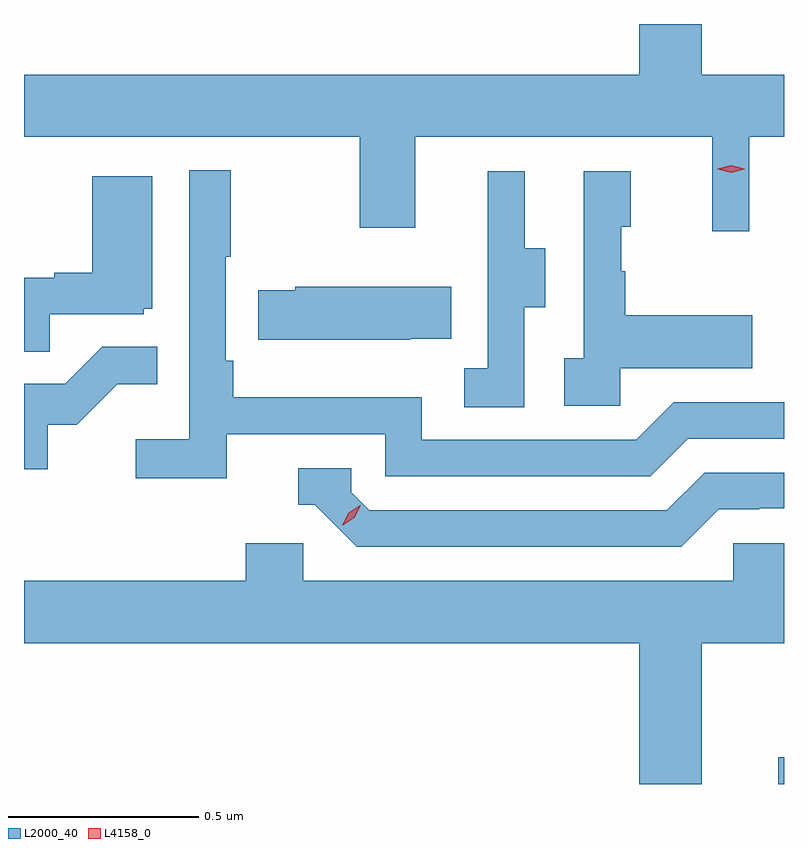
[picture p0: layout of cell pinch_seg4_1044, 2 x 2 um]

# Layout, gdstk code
import gdstk
lib = gdstk.Library(unit=1e-6, precision=1e-09)
def R(c, l, rs):  # rectangles x0, y0, x1, y1
    for r in rs: c.add(gdstk.rectangle(r[:2], r[2:], *l))
def P(c, l, *ps):  # polygons
    for p in ps: c.add(gdstk.Polygon(p, *l))
L2000_40 = (2000, 40)
L4158_0 = (4158, 0)

pinch_seg4_1044 = lib.new_cell('pinch_seg4_1044')
R(pinch_seg4_1044, L2000_40, [(800.738,772.473,800.753,772.543)])
P(pinch_seg4_1044, L2000_40, [(800.661,774.176),(800.753,774.176),(800.753,774.34),(800.536,774.34),(800.536,774.473),(800.372,774.473),(800.372,774.34),(798.753,774.34),(798.753,774.176),(799.636,774.176),(799.636,773.937),(799.783,773.937),(799.783,774.176),(800.564,774.176),(800.564,773.928),(800.661,773.928)],
  [(799.286,773.394),(799.704,773.394),(799.704,773.283),(800.401,773.283),(800.5,773.382),(800.753,773.382),(800.753,773.478),(800.463,773.478),(800.364,773.379),(799.8,773.379),(799.8,773.491),(799.304,773.491),(799.304,773.587),(799.284,773.587),(799.284,773.86),(799.297,773.86),(799.297,774.088),(799.188,774.088),(799.188,773.38),(799.047,773.38),(799.047,773.278),(799.286,773.278)],
  [(800.322,773.567),(800.669,773.567),(800.669,773.707),(800.335,773.707),(800.335,773.822),(800.325,773.822),(800.325,773.94),(800.35,773.94),(800.35,774.085),(800.226,774.085),(800.226,773.594),(800.175,773.594),(800.175,773.469),(800.322,773.469)],
  [(800.07,773.728),(800.125,773.728),(800.125,773.883),(800.071,773.883),(800.071,774.085),(799.973,774.085),(799.973,773.871),(799.974,773.871),(799.974,773.567),(799.911,773.567),(799.911,773.464),(800.07,773.464)],
  [(798.821,773.709),(799.068,773.709),(799.068,773.724),(799.09,773.724),(799.09,774.073),(798.932,774.073),(798.932,773.818),(798.833,773.818),(798.833,773.805),(798.753,773.805),(798.753,773.611),(798.821,773.611)],
  [(799.769,773.645),(799.877,773.645),(799.877,773.782),(799.467,773.782),(799.467,773.772),(799.369,773.772),(799.369,773.642),(799.769,773.642)],
  [(798.816,773.418),(798.892,773.418),(798.999,773.525),(799.103,773.525),(799.103,773.624),(798.959,773.624),(798.861,773.526),(798.753,773.526),(798.753,773.301),(798.816,773.301)],
  [(800.581,773.196),(800.688,773.196),(800.688,773.199),(800.753,773.199),(800.753,773.292),(800.544,773.292),(800.445,773.193),(799.662,773.193),(799.614,773.241),(799.614,773.304),(799.475,773.304),(799.475,773.208),(799.518,773.208),(799.629,773.097),(800.482,773.097)],
  [(800.536,772.844),(800.753,772.844),(800.753,773.106),(800.619,773.106),(800.619,773.008),(799.488,773.008),(799.488,773.106),(799.337,773.106),(799.337,773.008),(798.753,773.008),(798.753,772.844),(800.372,772.844),(800.372,772.473),(800.536,772.473)])
P(pinch_seg4_1044, L4158_0, [(800.614,774.081),(800.578,774.091),(800.578,774.091),(800.578,774.092),(800.614,774.101),(800.649,774.092),(800.65,774.091),(800.649,774.091)],
  [(799.591,773.154),(799.591,773.154),(799.608,773.187),(799.638,773.207),(799.639,773.207),(799.639,773.206),(799.622,773.174),(799.592,773.154)])

lib.write_gds('pinch_seg4_1044.gds')
